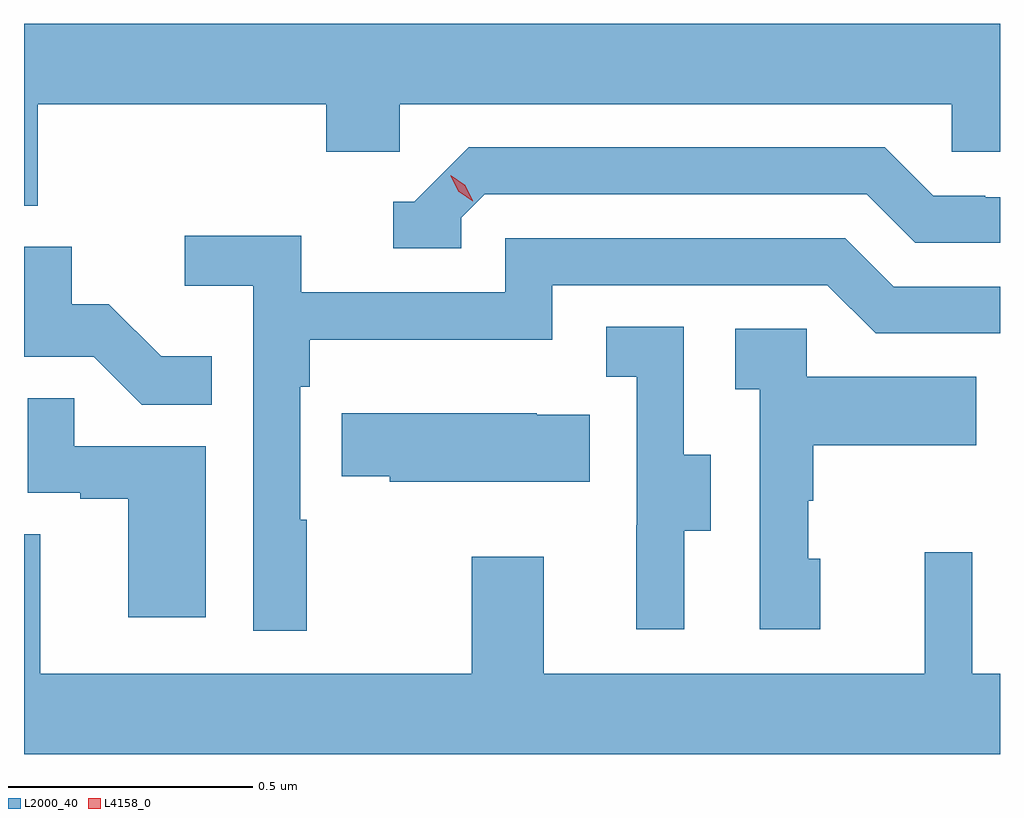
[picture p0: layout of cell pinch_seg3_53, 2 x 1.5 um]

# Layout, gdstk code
import gdstk
lib = gdstk.Library(unit=1e-6, precision=1e-09)
def P(c, l, *ps):  # polygons
    for p in ps: c.add(gdstk.Polygon(p, *l))
L2000_40 = (2000, 40)
L4158_0 = (4158, 0)

pinch_seg3_53 = lib.new_cell('pinch_seg3_53')
P(pinch_seg3_53, L2000_40, [(1053.602,732.884),(1054.193,732.884),(1054.193,732.786),(1054.344,732.786),(1054.344,732.884),(1055.475,732.884),(1055.475,732.786),(1055.574,732.786),(1055.574,733.048),(1053.574,733.048),(1053.574,732.676),(1053.602,732.676)],
  [(1054.47,732.651),(1054.518,732.699),(1055.301,732.699),(1055.4,732.6),(1055.574,732.6),(1055.574,732.693),(1055.544,732.693),(1055.544,732.696),(1055.437,732.696),(1055.338,732.795),(1054.485,732.795),(1054.374,732.684),(1054.331,732.684),(1054.331,732.588),(1054.47,732.588)],
  [(1054.153,732.032),(1054.14,732.032),(1054.14,732.305),(1054.16,732.305),(1054.16,732.401),(1054.656,732.401),(1054.656,732.513),(1055.22,732.513),(1055.319,732.414),(1055.574,732.414),(1055.574,732.51),(1055.356,732.51),(1055.257,732.609),(1054.56,732.609),(1054.56,732.498),(1054.142,732.498),(1054.142,732.614),(1053.903,732.614),(1053.903,732.512),(1054.044,732.512),(1054.044,731.805),(1054.153,731.805)],
  [(1053.959,732.367),(1053.855,732.367),(1053.748,732.474),(1053.672,732.474),(1053.672,732.591),(1053.574,732.591),(1053.574,732.366),(1053.717,732.366),(1053.815,732.268),(1053.959,732.268)],
  [(1054.927,732.01),(1054.981,732.01),(1054.981,732.165),(1054.926,732.165),(1054.926,732.428),(1054.767,732.428),(1054.767,732.325),(1054.83,732.325),(1054.83,732.021),(1054.829,732.021),(1054.829,731.808),(1054.927,731.808)],
  [(1055.206,731.952),(1055.181,731.952),(1055.181,732.071),(1055.191,732.071),(1055.191,732.185),(1055.525,732.185),(1055.525,732.325),(1055.178,732.325),(1055.178,732.423),(1055.031,732.423),(1055.031,732.299),(1055.082,732.299),(1055.082,731.808),(1055.206,731.808)],
  [(1053.946,732.183),(1053.677,732.183),(1053.677,732.281),(1053.582,732.281),(1053.582,732.087),(1053.689,732.087),(1053.689,732.075),(1053.788,732.075),(1053.788,731.832),(1053.946,731.832)],
  [(1054.733,732.247),(1054.625,732.247),(1054.625,732.25),(1054.225,732.25),(1054.225,732.121),(1054.323,732.121),(1054.323,732.11),(1054.733,732.11)],
  [(1055.574,731.716),(1055.517,731.716),(1055.517,731.965),(1055.42,731.965),(1055.42,731.716),(1054.639,731.716),(1054.639,731.956),(1054.492,731.956),(1054.492,731.716),(1053.607,731.716),(1053.607,732.002),(1053.574,732.002),(1053.574,731.552),(1055.574,731.552)])
P(pinch_seg3_53, L4158_0, [(1054.494,732.685),(1054.464,732.705),(1054.448,732.737),(1054.448,732.738),(1054.448,732.738),(1054.478,732.718),(1054.494,732.686),(1054.494,732.685)])

lib.write_gds('pinch_seg3_53.gds')
